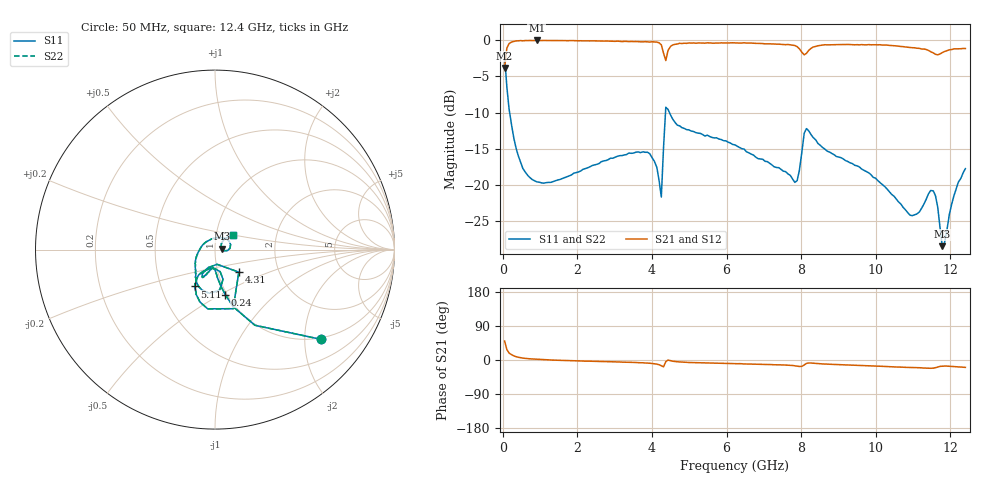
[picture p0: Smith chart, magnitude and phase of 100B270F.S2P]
!  American Technical Ceramics  Date:  3/13/98
!  One Norden Lane
!  Huntington Station,  NY.  11746-2102
!  Tel:  (516) 547-5700  Fax:  (516) 547-5748
!  Part Number  100b270f
!  Description: Porcelain, High Q, Low ESR
!  Application: Bypass, Coupling, Timing, Feedback
!  Tuning, Impedance Match, Blocking
# GHZ S DB R 50
! Freq  |S11|  S11 Ph  |S21|  S21 Ph  |S12|  S12 Ph  |S22|  S22 Ph
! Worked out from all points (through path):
!   201 points, 50 MHz to 12.4 GHz, reference 50 ohm
!   highest |S21| = -0.05 dB at 910 MHz (marker M1); lowest = -3.8 dB at 50 MHz (marker M2)
!   group delay of S21, straight-line fit = 5.7 ps
!   lowest |S11| = -28.4 dB at 11.78 GHz (marker M3), VSWR 1.08, Z = 53.9 + j0.617 ohm
!   |S11| at or under -10 dB: 184.9 MHz to 4.362 GHz (4.177 GHz wide, 184 % of centre); 4.469 GHz to end of sweep
!   |S22| runs from -28.4 to -2.2 dB; largest |S21 - S12| = 0
!   S11 on the Smith chart (normalised r, x): 50 MHz: 0.96, -2.40; 240 MHz: 0.98, -0.53; 4.31 GHz: 1.26, -0.33; 5.11 GHz: 0.74, -0.32; 12.4 GHz: 1.21, +0.20
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0.05  -2.22 -40.2  -3.84 50.1  -3.84 50.1  -2.22 -40.2
0.11  -6.44 -62.2  -1.11 27.8  -1.11 27.8  -6.44 -62.2
0.24  -11.81 -77.2  -0.26 13.8  -0.26 13.8  -11.81 -77.2
0.54  -17.71 -87.3  -0.10 5.0  -0.10 5.0  -17.71 -87.3
0.91  -19.54 -93.0  -0.05 1.9  -0.05 1.9  -19.54 -93.0
2.15  -17.82 -105.4  -0.11 -2.7  -0.11 -2.7  -17.82 -105.4
3.88  -15.46 -114.7  -0.24 -8.2  -0.24 -8.2  -15.46 -114.7
4.19  -19.35 -111.1  -0.37 -12.5  -0.37 -12.5  -19.35 -111.1
4.25  -21.64 -81.9  -0.65 -15.1  -0.65 -15.1  -21.64 -81.9
4.31  -14.77 -43.4  -1.81 -18.0  -1.81 -18.0  -14.77 -43.4
4.37  -9.26 -72.9  -2.82 -4.5  -2.82 -4.5  -9.26 -72.9
4.5  -10.35 -106.0  -0.85 -1.8  -0.85 -1.8  -10.35 -106.0
5.11  -12.60 -118.9  -0.39 -7.0  -0.39 -7.0  -12.60 -118.9
6.23  -14.46 -121.8  -0.39 -9.6  -0.39 -9.6  -14.46 -121.8
7.83  -19.62 -99.7  -0.75 -15.4  -0.75 -15.4  -19.62 -99.7
8.08  -12.84 -83.5  -2.03 -13.0  -2.03 -13.0  -12.84 -83.5
8.32  -13.43 -118.0  -0.95 -8.4  -0.95 -8.4  -13.43 -118.0
10.36  -20.89 -175.2  -0.73 -17.6  -0.73 -17.6  -20.89 -175.2
10.98  -24.20 117.3  -1.05 -19.7  -1.05 -19.7  -24.20 117.3
11.54  -20.79 18.3  -1.77 -21.5  -1.77 -21.5  -20.79 18.3
11.78  -28.41 8.7  -1.73 -16.4  -1.73 -16.4  -28.41 8.7
12.4  -17.72 39.0  -1.16 -19.5  -1.16 -19.5  -17.72 39.0
